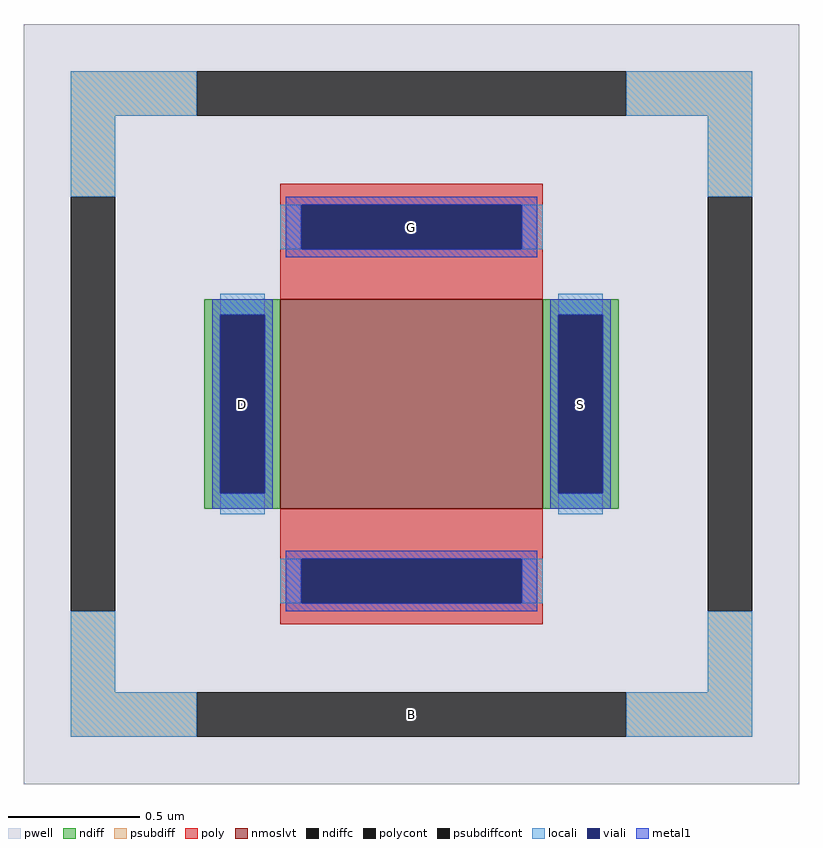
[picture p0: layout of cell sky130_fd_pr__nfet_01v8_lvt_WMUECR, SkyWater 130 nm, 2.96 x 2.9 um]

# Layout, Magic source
magic
tech sky130A
magscale 1 2
<< pwell >>
rect -296 -290 296 290
<< nmoslvt >>
rect -100 -80 100 80
<< ndiff >>
rect -158 68 -100 80
rect -158 -68 -146 68
rect -112 -68 -100 68
rect -158 -80 -100 -68
rect 100 68 158 80
rect 100 -68 112 68
rect 146 -68 158 68
rect 100 -80 158 -68
<< ndiffc >>
rect -146 -68 -112 68
rect 112 -68 146 68
<< psubdiff >>
rect -260 220 -164 254
rect 164 220 260 254
rect -260 158 -226 220
rect 226 158 260 220
rect -260 -220 -226 -158
rect 226 -220 260 -158
rect -260 -254 -164 -220
rect 164 -254 260 -220
<< psubdiffcont >>
rect -164 220 164 254
rect -260 -158 -226 158
rect 226 -158 260 158
rect -164 -254 164 -220
<< poly >>
rect -100 152 100 168
rect -100 118 -84 152
rect 84 118 100 152
rect -100 80 100 118
rect -100 -118 100 -80
rect -100 -152 -84 -118
rect 84 -152 100 -118
rect -100 -168 100 -152
<< polycont >>
rect -84 118 84 152
rect -84 -152 84 -118
<< locali >>
rect -260 220 -164 254
rect 164 220 260 254
rect -260 158 -226 220
rect 226 158 260 220
rect -100 118 -84 152
rect 84 118 100 152
rect -146 68 -112 84
rect -146 -84 -112 -68
rect 112 68 146 84
rect 112 -84 146 -68
rect -100 -152 -84 -118
rect 84 -152 100 -118
rect -260 -220 -226 -158
rect 226 -220 260 -158
rect -260 -254 -164 -220
rect 164 -254 260 -220
<< viali >>
rect -84 118 84 152
rect -146 -68 -112 68
rect 112 -68 146 68
rect -84 -152 84 -118
<< metal1 >>
rect -96 152 96 158
rect -96 118 -84 152
rect 84 118 96 152
rect -96 112 96 118
rect -152 68 -106 80
rect -152 -68 -146 68
rect -112 -68 -106 68
rect -152 -80 -106 -68
rect 106 68 152 80
rect 106 -68 112 68
rect 146 -68 152 68
rect 106 -80 152 -68
rect -96 -118 96 -112
rect -96 -152 -84 -118
rect 84 -152 96 -118
rect -96 -158 96 -152
<< labels >>
rlabel psubdiffcont 0 -237 0 -237 0 B
port 5 nsew
rlabel ndiffc -129 0 -129 0 0 D
port 6 nsew
rlabel ndiffc 129 0 129 0 0 S
port 7 nsew
rlabel polycont 0 135 0 135 0 G
port 8 nsew
<< properties >>
string FIXED_BBOX -243 -237 243 237
string gencell sky130_fd_pr__nfet_01v8_lvt
string library sky130
string parameters w 0.8 l 1.0 m 1 nf 1 diffcov 100 polycov 100 guard 1 glc 1 grc 1 gtc 1 gbc 1 tbcov 100 rlcov 100 topc 1 botc 1 poverlap 0 doverlap 1 lmin 0.15 wmin 0.42 class mosfet compatible {sky130_fd_pr__nfet_01v8 sky130_fd_pr__nfet_01v8_lvt  sky130_fd_bs_flash__special_sonosfet_star  sky130_fd_pr__nfet_g5v0d10v5 sky130_fd_pr__nfet_05v0_nvt  sky130_fd_pr__nfet_03v3_nvt} full_metal 1 conn_gates 0 viasrc 100 viadrn 100 viagate 100 viagb 0 viagr 0 viagl 0 viagt 0 doports 1
<< end >>
